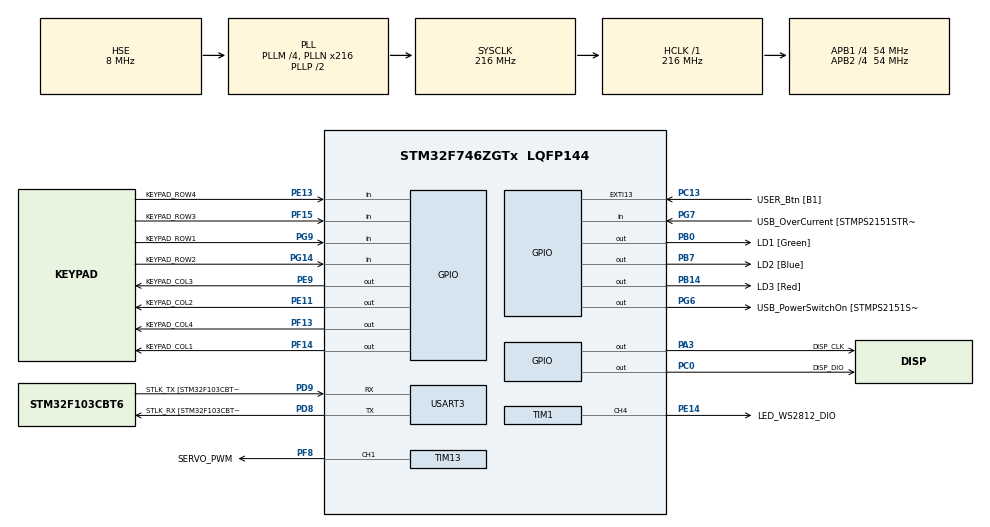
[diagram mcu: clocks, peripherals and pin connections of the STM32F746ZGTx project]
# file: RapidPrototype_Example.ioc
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Dma.Request0=TIM1_CH4/TRIG/COM
Dma.Request1=USART3_RX
Dma.TIM1_CH4/TRIG/COM.0.Direction=DMA_MEMORY_TO_PERIPH
Dma.TIM1_CH4/TRIG/COM.0.FIFOMode=DMA_FIFOMODE_DISABLE
Dma.TIM1_CH4/TRIG/COM.0.Instance=DMA2_Stream4
Dma.TIM1_CH4/TRIG/COM.0.MemDataAlignment=DMA_MDATAALIGN_HALFWORD
Dma.TIM1_CH4/TRIG/COM.0.MemInc=DMA_MINC_ENABLE
Dma.TIM1_CH4/TRIG/COM.0.Mode=DMA_NORMAL
Dma.TIM1_CH4/TRIG/COM.0.PeriphDataAlignment=DMA_PDATAALIGN_HALFWORD
Dma.TIM1_CH4/TRIG/COM.0.PeriphInc=DMA_PINC_DISABLE
Dma.TIM1_CH4/TRIG/COM.0.Priority=DMA_PRIORITY_LOW
Dma.USART3_RX.1.Direction=DMA_PERIPH_TO_MEMORY
Dma.USART3_RX.1.FIFOMode=DMA_FIFOMODE_DISABLE
Dma.USART3_RX.1.Instance=DMA1_Stream1
Dma.USART3_RX.1.MemDataAlignment=DMA_MDATAALIGN_BYTE
Dma.USART3_RX.1.MemInc=DMA_MINC_ENABLE
Dma.USART3_RX.1.Mode=DMA_NORMAL
Dma.USART3_RX.1.PeriphDataAlignment=DMA_PDATAALIGN_BYTE
Dma.USART3_RX.1.PeriphInc=DMA_PINC_DISABLE
Dma.USART3_RX.1.Priority=DMA_PRIORITY_LOW
Mcu.Family=STM32F7
Mcu.Name=STM32F746ZGTx
Mcu.Package=LQFP144
NVIC.DMA1_Stream1_IRQn=true\:1\:0\:true\:false\:true\:false\:true\:true
NVIC.DMA2_Stream4_IRQn=true\:0\:0\:false\:false\:true\:false\:true\:true
NVIC.PriorityGroup=NVIC_PRIORITYGROUP_4
NVIC.TIM8_UP_TIM13_IRQn=true\:1\:0\:true\:false\:true\:true\:true\:true
PA1.GPIO_Label=RMII_REF_CLK [LAN8742A-CZ-TR_REFCLK0]
PA1.Signal=ETH_REF_CLK
PA10.GPIO_Label=USB_ID
PA10.Signal=USB_OTG_FS_ID
PA11.GPIO_Label=USB_DM
PA11.Signal=USB_OTG_FS_DM
PA12.GPIO_Label=USB_DP
PA12.Signal=USB_OTG_FS_DP
PA13.GPIO_Label=TMS
PA13.Mode=Serial_Wire
PA13.Signal=SYS_JTMS-SWDIO
PA14.GPIO_Label=TCK
PA14.Mode=Serial_Wire
PA14.Signal=SYS_JTCK-SWCLK
PA2.GPIO_Label=RMII_MDIO [LAN8742A-CZ-TR_MDIO]
PA2.Signal=ETH_MDIO
PA3.GPIO_Label=DISP_CLK
PA3.GPIO_ModeDefaultOutputPP=GPIO_MODE_OUTPUT_OD
PA3.GPIO_PuPd=GPIO_PULLUP
PA3.GPIO_Speed=GPIO_SPEED_FREQ_VERY_HIGH
PA3.Signal=GPIO_Output
PA7.GPIO_Label=RMII_CRS_DV [LAN8742A-CZ-TR_CRS_DV]
PA7.Signal=ETH_CRS_DV
PA8.GPIO_Label=USB_SOF [TP1]
PA8.Signal=USB_OTG_FS_SOF
PA9.GPIO_Label=USB_VBUS
PA9.Signal=USB_OTG_FS_VBUS
PB0.GPIO_Label=LD1 [Green]
PB0.Signal=GPIO_Output
PB13.GPIO_Label=RMII_TXD1 [LAN8742A-CZ-TR_TXD1]
PB13.Signal=ETH_TXD1
PB14.GPIO_Label=LD3 [Red]
PB14.Signal=GPIO_Output
PB3.GPIO_Label=SW0
PB3.Signal=SYS_JTDO-SWO
PB7.GPIO_Label=LD2 [Blue]
PB7.Signal=GPIO_Output
PC0.GPIO_Label=DISP_DIO
PC0.GPIO_ModeDefaultOutputPP=GPIO_MODE_OUTPUT_OD
PC0.GPIO_PuPd=GPIO_PULLUP
PC0.GPIO_Speed=GPIO_SPEED_FREQ_VERY_HIGH
PC0.Signal=GPIO_Output
PC1.GPIO_Label=RMII_MDC [LAN8742A-CZ-TR_MDC]
PC1.Signal=ETH_MDC
PC13.GPIO_Label=USER_Btn [B1]
PC13.Signal=GPXTI13
PC14/OSC32_IN.Mode=LSE-External-Oscillator
PC14/OSC32_IN.Signal=RCC_OSC32_IN
PC15/OSC32_OUT.Mode=LSE-External-Oscillator
PC15/OSC32_OUT.Signal=RCC_OSC32_OUT
PC4.GPIO_Label=RMII_RXD0 [LAN8742A-CZ-TR_RXD0]
PC4.Signal=ETH_RXD0
PC5.GPIO_Label=RMII_RXD1 [LAN8742A-CZ-TR_RXD1]
PC5.Signal=ETH_RXD1
PD8.GPIO_Label=STLK_RX [STM32F103CBT6_PA3]
PD8.GPIO_PuPd=GPIO_PULLUP
PD8.Mode=Asynchronous
PD8.Signal=USART3_TX
PD9.GPIO_Label=STLK_TX [STM32F103CBT6_PA2]
PD9.GPIO_PuPd=GPIO_PULLUP
PD9.Mode=Asynchronous
PD9.Signal=USART3_RX
PE11.GPIO_Label=KEYPAD_COL2
PE11.GPIO_ModeDefaultOutputPP=GPIO_MODE_OUTPUT_OD
PE11.GPIO_PuPd=GPIO_NOPULL
PE11.Signal=GPIO_Output
PE13.GPIO_Label=KEYPAD_ROW4
PE13.GPIO_PuPd=GPIO_PULLUP
PE13.Signal=GPIO_Input
PE14.GPIO_Label=LED_WS2812_DIO
PE14.GPIO_Speed=GPIO_SPEED_FREQ_VERY_HIGH
PE14.Signal=S_TIM1_CH4
PE9.GPIO_Label=KEYPAD_COL3
PE9.GPIO_ModeDefaultOutputPP=GPIO_MODE_OUTPUT_OD
PE9.GPIO_PuPd=GPIO_NOPULL
PE9.Signal=GPIO_Output
PF13.GPIO_Label=KEYPAD_COL4
PF13.GPIO_ModeDefaultOutputPP=GPIO_MODE_OUTPUT_OD
PF13.GPIO_PuPd=GPIO_NOPULL
PF13.Signal=GPIO_Output
PF14.GPIO_Label=KEYPAD_COL1
PF14.GPIO_ModeDefaultOutputPP=GPIO_MODE_OUTPUT_OD
PF14.GPIO_PuPd=GPIO_NOPULL
PF14.Signal=GPIO_Output
PF15.GPIO_Label=KEYPAD_ROW3
PF15.GPIO_PuPd=GPIO_PULLUP
PF15.Signal=GPIO_Input
PF8.GPIO_Label=SERVO_PWM
PF8.Signal=S_TIM13_CH1
PG11.GPIO_Label=RMII_TX_EN [LAN8742A-CZ-TR_TXEN]
PG11.Signal=ETH_TX_EN
PG13.GPIO_Label=RMII_TXD0 [LAN8742A-CZ-TR_TXD0]
PG13.Signal=ETH_TXD0
PG14.GPIO_Label=KEYPAD_ROW2
PG14.GPIO_PuPd=GPIO_PULLUP
PG14.Signal=GPIO_Input
PG6.GPIO_Label=USB_PowerSwitchOn [STMPS2151STR_EN]
PG6.Signal=GPIO_Output
PG7.GPIO_Label=USB_OverCurrent [STMPS2151STR_FAULT]
PG7.Signal=GPIO_Input
PG9.GPIO_Label=KEYPAD_ROW1
PG9.GPIO_PuPd=GPIO_PULLUP
PG9.Signal=GPIO_Input
PH0/OSC_IN.GPIO_Label=MCO [STM32F103CBT6_PA8]
PH0/OSC_IN.Mode=HSE-External-Clock-Source
PH0/OSC_IN.Signal=RCC_OSC_IN
PH1/OSC_OUT.Mode=HSE-External-Clock-Source
PH1/OSC_OUT.Signal=RCC_OSC_OUT
ProjectManager.HeapSize=0x200
ProjectManager.StackSize=0x400
ProjectManager.TargetToolchain=STM32CubeIDE
RCC.48MHZClocksFreq_Value=24000000
RCC.AHBFreq_Value=216000000
RCC.APB1CLKDivider=RCC_HCLK_DIV4
RCC.APB1Freq_Value=54000000
RCC.APB1TimFreq_Value=108000000
RCC.APB2CLKDivider=RCC_HCLK_DIV4
RCC.APB2Freq_Value=54000000
RCC.APB2TimFreq_Value=108000000
RCC.CortexFreq_Value=216000000
RCC.HCLKFreq_Value=216000000
RCC.HSE_VALUE=8000000
RCC.HSI_VALUE=16000000
RCC.PLLM=4
RCC.PLLMUL=RCC_PLL_MUL9
RCC.PLLN=216
RCC.PLLQ=3
RCC.PLLSourceVirtual=RCC_PLLSOURCE_HSE
RCC.PRESCALERUSB=RCC_USBCLKSOURCE_PLL_DIV1_5
RCC.SYSCLKFreq_VALUE=216000000
RCC.SYSCLKSource=RCC_SYSCLKSOURCE_PLLCLK
RCC.SYSCLKSourceVirtual=RCC_SYSCLKSOURCE_PLLCLK
RCC.USBFreq_Value=144000000
RCC.VCOOutputFreq_Value=432000000
SH.S_TIM13_CH1.0=TIM13_CH1,PWM Generation1 CH1
SH.S_TIM1_CH4.0=TIM1_CH4,PWM Generation4 CH4
TIM1.Channel-PWM\ Generation4\ CH4=TIM_CHANNEL_4
TIM1.Period=134
TIM13.Channel=TIM_CHANNEL_1
TIM13.Period=19999
TIM13.Prescaler=107
TIM13.Pulse=1500
TIM9.Period=19999
TIM9.Prescaler=107
USART3.VirtualMode-Asynchronous=VM_ASYNC
VP_TIM13_VS_ClockSourceINT.Mode=Enable_Timer
VP_TIM1_VS_ClockSourceINT.Mode=Internal
VP_TIM9_VS_ClockSourceINT.Mode=Internal
board=NUCLEO-F746ZG

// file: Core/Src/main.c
/* USER CODE BEGIN Header */
/**
  ******************************************************************************
  * @file           : main.c
  * @brief          : Main program body
  ******************************************************************************
  * @attention
  *
  * Copyright (c) 2023 STMicroelectronics.
  * All rights reserved.
  *
  * This software is licensed under terms that can be found in the LICENSE file
  * in the root directory of this software component.
  * If no LICENSE file comes with this software, it is provided AS-IS.
  *
  ******************************************************************************
  */
/* USER CODE END Header */
#include "main.h"
#include "dma.h"
#include "tim.h"
#include "usart.h"
#include "gpio.h"

/* USER CODE BEGIN Includes */
#include <stdlib.h>
#include <math.h>
#include "keypad.h"
#include "disp.h"
#include "servo.h"
#include "led.h"
#include "input_shaping.h"
/* USER CODE END Includes */

/* USER CODE BEGIN PV */
KEYPAD_Handle_TypeDef hkeypad = KEYPAD_4x4_INIT_HANDLE(KEYPAD);

DISP_TM1637_HandleTypeDef hdisp1 = {
  .CLK = DIO_INIT_HANDLE(DISP_CLK),
  .DIO = DIO_INIT_HANDLE(DISP_DIO),
  .Separator = TM1637_SEP_NONE
};

SERVO_Handle_TypeDef hservo1 = {
  .PwmOut = PWM_INIT_HANDLE(&htim13, TIM_CHANNEL_1)
};

LED_WS2812_HANDLE_CONSTRUCTOR(hld1, 8, &htim1, TIM_CHANNEL_4);

INPUT_SHAPING_HandleTypeDef hrl1 = { .RateLimit = 90.0f, .Ts = 0.02f, .x_prev = 90.0f };

uint8_t tx_buffer[8];
const int tx_msg_len = 4;
unsigned int pos_ref = 90, pos_temp;
/* USER CODE END PV */

void SystemClock_Config(void);

/* USER CODE BEGIN 0 */

/**
 * @brief Writes colors to LEDs based on servo position
 * @param[in/out] hled  : LED WS2812 handle
 * @param[in]     pos   : servo position in degrees (0-180)
 * @retval  None
 */
void SERVO_Position__TO__LED_WS2812_Color(unsigned int pos, LED_WS2812_Handle_TypeDef* hled)
{
  static const unsigned int max = 0x40;
  for(int i = 0; i < hled->N; i++)
  {
    float pwr = fmax(0.0f, fmin(1.0f, ((float)pos / (180.0f/hled->N)) - i));

    unsigned int R,G;
    R = pos * (pwr*max) / 180;
    G = (180-pos) * (pwr*max) / 180;
    LED_WS2812_WriteColor_RGB(hled, i, (R << 16) | (G << 8));
  }
  LED_WS2812_Update(hled);
}

/**
  * @brief  Rx Transfer completed callback.
  * @param  huart UART handle.
  * @retval None
  */
void HAL_UART_RxCpltCallback(UART_HandleTypeDef *huart)
{
  if(huart == &huart3)
  {
    // position 0-180 degrees
    if(tx_buffer[0] == 'P' || tx_buffer[0] == 'p')
    {
      pos_temp = strtol((char*)&tx_buffer[1], 0, 10);
      pos_ref = (pos_temp > 180) ? 180 : pos_temp;
      pos_temp = pos_ref;
      DISP_TM1637_printDecUInt(&hdisp1, pos_ref);
    }
    // speed in degrees per second
    else if(tx_buffer[0] == 'S' || tx_buffer[0] == 's')
    {
      hrl1.RateLimit = (float)strtol((char*)&tx_buffer[1], 0, 10);
    }
    HAL_UART_Receive_DMA(&huart3, tx_buffer, tx_msg_len);
  }
}

/**
  * @brief  PWM Pulse finished callback in non-blocking mode
  * @param  htim TIM handle
  * @retval None
  */
void HAL_TIM_PWM_PulseFinishedCallback(TIM_HandleTypeDef *htim)
{
  if(htim == hld1.Timer)
    LED_WS2812_Callback(&hld1);
}

/**
  * @brief  Period elapsed callback in non-blocking mode
  * @param  htim TIM handle
  * @retval None
  */
void HAL_TIM_PeriodElapsedCallback(TIM_HandleTypeDef *htim)
{
  if(htim == hservo1.PwmOut.Timer)
  {
    float pos = INPUT_SHAPING_RateLimiter(&hrl1, pos_ref);
    SERVO_Position__TO__LED_WS2812_Color(pos, &hld1);
    SERVO_WritePosition(&hservo1, pos);
  }
}
/* USER CODE END 0 */

int main(void)
{

  /* MCU Configuration--------------------------------------------------------*/

  /* Reset of all peripherals, Initializes the Flash interface and the Systick. */
  HAL_Init();

  /* Configure the system clock */
  SystemClock_Config();

  /* Initialize all configured peripherals */
  MX_GPIO_Init();
  MX_DMA_Init();
  MX_TIM9_Init();
  MX_TIM1_Init();
  MX_USART3_UART_Init();
  MX_TIM13_Init();
  /* USER CODE BEGIN 2 */
  SERVO_Init(&hservo1);
  SERVO_WritePosition(&hservo1, pos_ref);

  HAL_TIM_Base_Start_IT(hservo1.PwmOut.Timer);

  DISP_TM1637_Init(&hdisp1);
  DISP_TM1637_printDecUInt(&hdisp1, pos_ref);

  SERVO_Position__TO__LED_WS2812_Color(pos_ref, &hld1);

  HAL_UART_Receive_DMA(&huart3, tx_buffer, tx_msg_len);
  /* USER CODE END 2 */

  /* Infinite loop */
  /* USER CODE BEGIN WHILE */
  char key;
  unsigned int digit_cnt = 0;
  const unsigned int digit_max = 3;

  while (1)
  {
    if((key = KEYPAD_GetKey(&hkeypad, 0)) != '\0')
    {
      // if 0-9 digit
      if(key >= '0' && key <= '9')
      {
        if(digit_cnt == 0)
          pos_temp = (key - '0');
        else
          pos_temp = pos_temp*10 + (key - '0');
        DISP_TM1637_printDecUInt(&hdisp1, pos_temp);
        digit_cnt = (digit_cnt + 1) % digit_max;
      }

      // if ENTER (D)
      if(key == 'D')
      {
        pos_ref = (pos_temp > 180) ? 180 : pos_temp;
        DISP_TM1637_printDecUInt(&hdisp1, pos_ref);
        digit_cnt = 0;
      }

      // if BACKSPACE (C)
      if(key == 'C')
      {
        pos_temp = pos_temp/10;
        digit_cnt = (digit_cnt - 1) % digit_max;
        DISP_TM1637_printDecUInt(&hdisp1, pos_temp);
      }
    }
    /* USER CODE END WHILE */

  }
}

void SystemClock_Config(void)
{
  RCC_OscInitTypeDef RCC_OscInitStruct = {0};
  RCC_ClkInitTypeDef RCC_ClkInitStruct = {0};

  /** Configure LSE Drive Capability
  */
  HAL_PWR_EnableBkUpAccess();

  /** Configure the main internal regulator output voltage
  */
  __HAL_RCC_PWR_CLK_ENABLE();
  __HAL_PWR_VOLTAGESCALING_CONFIG(PWR_REGULATOR_VOLTAGE_SCALE1);

  /** Initializes the RCC Oscillators according to the specified parameters
  * in the RCC_OscInitTypeDef structure.
  */
  RCC_OscInitStruct.OscillatorType = RCC_OSCILLATORTYPE_HSE;
  RCC_OscInitStruct.HSEState = RCC_HSE_BYPASS;
  RCC_OscInitStruct.PLL.PLLState = RCC_PLL_ON;
  RCC_OscInitStruct.PLL.PLLSource = RCC_PLLSOURCE_HSE;
  RCC_OscInitStruct.PLL.PLLM = 4;
  RCC_OscInitStruct.PLL.PLLN = 216;
  RCC_OscInitStruct.PLL.PLLP = RCC_PLLP_DIV2;
  RCC_OscInitStruct.PLL.PLLQ = 3;
  if (HAL_RCC_OscConfig(&RCC_OscInitStruct) != HAL_OK)
  {
    Error_Handler();
  }

  /** Activate the Over-Drive mode
  */
  if (HAL_PWREx_EnableOverDrive() != HAL_OK)
  {
    Error_Handler();
  }

  /** Initializes the CPU, AHB and APB buses clocks
  */
  RCC_ClkInitStruct.ClockType = RCC_CLOCKTYPE_HCLK|RCC_CLOCKTYPE_SYSCLK
                              |RCC_CLOCKTYPE_PCLK1|RCC_CLOCKTYPE_PCLK2;
  RCC_ClkInitStruct.SYSCLKSource = RCC_SYSCLKSOURCE_PLLCLK;
  RCC_ClkInitStruct.AHBCLKDivider = RCC_SYSCLK_DIV1;
  RCC_ClkInitStruct.APB1CLKDivider = RCC_HCLK_DIV4;
  RCC_ClkInitStruct.APB2CLKDivider = RCC_HCLK_DIV4;

  if (HAL_RCC_ClockConfig(&RCC_ClkInitStruct, FLASH_LATENCY_7) != HAL_OK)
  {
    Error_Handler();
  }
}

void Error_Handler(void)
{
  __disable_irq();
  while (1)
  {
  }
}
